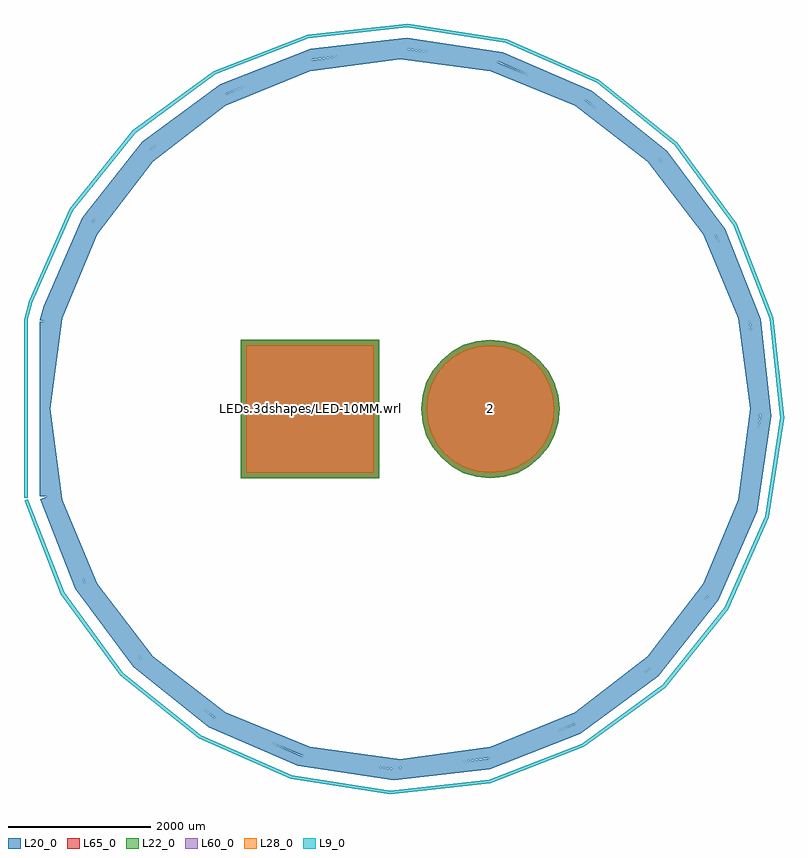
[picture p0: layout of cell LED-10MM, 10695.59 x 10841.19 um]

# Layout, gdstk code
import gdstk
lib = gdstk.Library(unit=1e-6, precision=1e-09)
def R(c, l, rs):  # rectangles x0, y0, x1, y1
    for r in rs: c.add(gdstk.rectangle(r[:2], r[2:], *l))
def P(c, l, *ps):  # polygons
    for p in ps: c.add(gdstk.Polygon(p, *l))
L9_0 = (9, 0)
L20_0 = (20, 0)
L22_0 = (22, 0)
L28_0 = (28, 0)
L60_0 = (60, 0)
L65_0 = (65, 0)

led_10mm = lib.new_cell('LED-10MM')
R(led_10mm, L22_0, [(-975,-975,975,975)])
P(led_10mm, L22_0, [(3515,0),(3496.266,190.213),(3440.783,373.116),(3350.683,541.681),(3229.429,689.429),(3081.681,810.683),(2913.116,900.783),(2730.213,956.266),(2540,975),(2349.787,956.266),(2166.884,900.783),(1998.319,810.683),(1850.571,689.429),(1729.317,541.681),(1639.217,373.116),(1583.734,190.213),(1565,0),(1583.734,-190.213),(1639.217,-373.116),(1729.317,-541.681),(1850.571,-689.429),(1998.319,-810.683),(2166.884,-900.783),(2349.787,-956.266),(2540,-975),(2730.213,-956.266),(2913.116,-900.783),(3081.681,-810.683),(3229.429,-689.429),(3350.683,-541.681),(3440.783,-373.116),(3496.266,-190.213)])
R(led_10mm, L28_0, [(-900,-900,900,900)])
P(led_10mm, L28_0, [(3440,0),(3422.707,175.581),(3371.492,344.415),(3288.323,500.013),(3176.396,636.396),(3040.013,748.323),(2884.415,831.492),(2715.581,882.707),(2540,900),(2364.419,882.707),(2195.585,831.492),(2039.987,748.323),(1903.604,636.396),(1791.677,500.013),(1708.508,344.415),(1657.293,175.581),(1640,0),(1657.293,-175.581),(1708.508,-344.415),(1791.677,-500.013),(1903.604,-636.396),(2039.987,-748.323),(2195.585,-831.492),(2364.419,-882.707),(2540,-900),(2715.581,-882.707),(2884.415,-831.492),(3040.013,-748.323),(3176.396,-636.396),(3288.323,-500.013),(3371.492,-344.415),(3422.707,-175.581)])
R(led_10mm, L60_0, [(-900,-900,900,900)])
P(led_10mm, L60_0, [(3440,0),(3422.707,175.581),(3371.492,344.415),(3288.323,500.013),(3176.396,636.396),(3040.013,748.323),(2884.415,831.492),(2715.581,882.707),(2540,900),(2364.419,882.707),(2195.585,831.492),(2039.987,748.323),(1903.604,636.396),(1791.677,500.013),(1708.508,344.415),(1657.293,175.581),(1640,0),(1657.293,-175.581),(1708.508,-344.415),(1791.677,-500.013),(1903.604,-636.396),(2039.987,-748.323),(2195.585,-831.492),(2364.419,-882.707),(2540,-900),(2715.581,-882.707),(2884.415,-831.492),(3040.013,-748.323),(3176.396,-636.396),(3288.323,-500.013),(3371.492,-344.415),(3422.707,-175.581)])
R(led_10mm, L65_0, [(-975,-975,975,975)])
P(led_10mm, L65_0, [(3515,0),(3496.266,190.213),(3440.783,373.116),(3350.683,541.681),(3229.429,689.429),(3081.681,810.683),(2913.116,900.783),(2730.213,956.266),(2540,975),(2349.787,956.266),(2166.884,900.783),(1998.319,810.683),(1850.571,689.429),(1729.317,541.681),(1639.217,373.116),(1583.734,190.213),(1565,0),(1583.734,-190.213),(1639.217,-373.116),(1729.317,-541.681),(1850.571,-689.429),(1998.319,-810.683),(2166.884,-900.783),(2349.787,-956.266),(2540,-975),(2730.213,-956.266),(2913.116,-900.783),(3081.681,-810.683),(3229.429,-689.429),(3350.683,-541.681),(3440.783,-373.116),(3496.266,-190.213)])
led_10mm.add(gdstk.FlexPath([(1270,-5000),(2564.095,-4829.629),(3770,-4330.127),(4805.534,-3535.534),(5600.127,-2500),(6099.629,-1294.095),(6270,0),(6099.629,1294.095),(5600.127,2500),(4805.534,3535.534),(3770,4330.127),(2564.095,4829.629),(1270,5000),(-24.095,4829.629),(-1230,4330.127),(-2265.534,3535.534),(-3060.127,2500),(-3559.629,1294.095),(-3730,0),(-3559.629,-1294.095),(-3060.127,-2500),(-2265.534,-3535.534),(-1230,-4330.127),(-24.095,-4829.629),(1270,-5000)], 149.998, ends="flush", simple_path=True, layer=20, datatype=0))  # L20_0
led_10mm.add(gdstk.FlexPath([(-3726.56,-1243.898),(-3234.362,-2494.718),(-2435.199,-3575.527),(-1383.533,-4412.67),(-151.033,-4949.097),(1178.308,-5148.251),(2513.898,-4996.56),(3764.718,-4504.362),(4845.527,-3705.199),(5682.67,-2653.533),(6219.097,-1421.033),(6418.251,-91.692),(6266.56,1243.898),(5774.362,2494.718),(4975.199,3575.528),(3923.533,4412.671),(2691.033,4949.097),(1361.692,5148.251),(26.102,4996.56),(-1224.718,4504.362),(-2305.528,3705.199),(-3142.671,2653.533),(-3679.097,1421.033),(-3730,1230)], 149.998, ends="flush", simple_path=True, layer=20, datatype=0))  # L20_0
led_10mm.add(gdstk.FlexPath([(-3730,1230),(-3730,-1230)], 149.998, ends="flush", simple_path=True, layer=20, datatype=0))  # L20_0
led_10mm.add(gdstk.FlexPath([(-3993.048,-1278.844),(-3483.406,-2592.269),(-2651.191,-3729.035),(-1553.116,-4611.674),(-264.013,-5180.035),(1128.268,-5395.385),(2528.844,-5243.048),(3842.269,-4733.406),(4979.036,-3901.191),(5861.674,-2803.116),(6430.035,-1514.013),(6645.385,-121.732),(6493.048,1278.844),(5983.407,2592.269),(5151.191,3729.036),(4053.116,4611.674),(2764.013,5180.035),(1371.732,5395.385),(-28.844,5243.048),(-1342.269,4733.407),(-2479.036,3901.191),(-3361.674,2803.116),(-3930.035,1514.013),(-4000,1250)], 50, ends="flush", simple_path=True, layer=9, datatype=0))  # L9_0
led_10mm.add(gdstk.FlexPath([(-4000,1250),(-4000,-1250)], 50, ends="flush", simple_path=True, layer=9, datatype=0))  # L9_0
led_10mm.add(gdstk.Label('LEDs.3dshapes/LED-10MM.wrl', (0,0), layer=12, texttype=0))
led_10mm.add(gdstk.Label('1', (0,0), layer=28, texttype=0))
led_10mm.add(gdstk.Label('2', (2540,0), layer=28, texttype=0))
led_10mm.add(gdstk.Label('type', (1500,-6100), layer=9, texttype=0))
led_10mm.add(gdstk.Label('devicename', (1270,6250), layer=9, texttype=0))

lib.write_gds('LED-10MM.gds')
